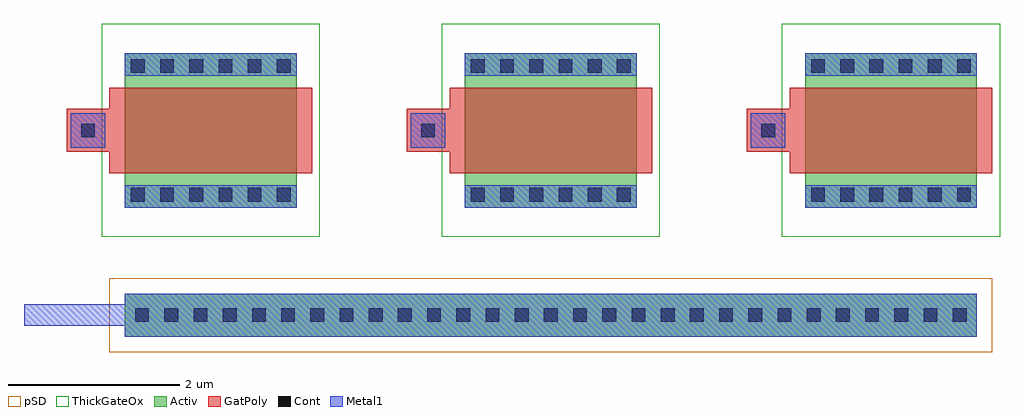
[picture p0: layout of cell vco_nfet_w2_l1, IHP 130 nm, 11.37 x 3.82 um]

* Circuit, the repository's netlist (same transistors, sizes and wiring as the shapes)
* extracted by klt extract --deck sg13cmos5l

* cell vco_nfet_w2_l1
* pin vsubs
.SUBCKT vco_nfet_w2_l1 vsubs
* device instance $1 r0 *1 1.89,3.36 nfet
X$1 \$4 \$1 \$5 vsubs sg13_hv_nmos L=1U W=2U AS=0.8P AD=0.8P PS=4.8U PD=4.8U
* device instance $2 r0 *1 5.03,3.36 nfet
X$2 \$6 \$2 \$7 vsubs sg13_hv_nmos L=1U W=2U AS=0.8P AD=0.8P PS=4.8U PD=4.8U
* device instance $3 r0 *1 8.17,3.36 nfet
X$3 \$8 \$3 \$9 vsubs sg13_hv_nmos L=1U W=2U AS=0.8P AD=0.8P PS=4.8U PD=4.8U
.ENDS vco_nfet_w2_l1

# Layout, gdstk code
import gdstk
lib = gdstk.Library(unit=1e-6, precision=1e-09)
def R(c, l, rs):  # rectangles x0, y0, x1, y1
    for r in rs: c.add(gdstk.rectangle(r[:2], r[2:], *l))
def A(c, l, x, y, w, h, nx, ny, dx, dy):  # array of equal rectangles
    R(c, l, [(x+i*dx, y+j*dy, x+i*dx+w, y+j*dy+h) for i in range(nx) for j in range(ny)])
Activ = (1, 0)
GatPoly = (5, 0)
Cont = (6, 0)
Metal1 = (8, 0)
pSD = (14, 0)
ThickGateOx = (44, 0)

vco_nfet_w2_l1 = lib.new_cell('vco_nfet_w2_l1')
A(vco_nfet_w2_l1, Activ, 1.3, 2.46, 2, 1.8, 3, 1, 3.96, 0)
R(vco_nfet_w2_l1, Activ, [(1.3,0.96,11.22,1.46)])
A(vco_nfet_w2_l1, GatPoly, 1.12, 2.86, 2.36, 1, 3, 1, 3.96, 0)
A(vco_nfet_w2_l1, GatPoly, 0.62, 3.11, 0.5, 0.5, 3, 1, 3.96, 0)
A(vco_nfet_w2_l1, Cont, 1.42, 1.13, 0.16, 0.16, 29, 1, 0.34, 0)
A(vco_nfet_w2_l1, Cont, 1.37, 2.53, 0.16, 0.16, 6, 2, 0.34, 1.5)
A(vco_nfet_w2_l1, Cont, 5.33, 2.53, 0.16, 0.16, 6, 2, 0.34, 1.5)
A(vco_nfet_w2_l1, Cont, 9.29, 2.53, 0.16, 0.16, 6, 2, 0.34, 1.5)
A(vco_nfet_w2_l1, Cont, 0.79, 3.28, 0.16, 0.16, 3, 1, 3.96, 0)
A(vco_nfet_w2_l1, Metal1, 1.3, 2.46, 2, 0.26, 3, 2, 3.96, 1.54)
A(vco_nfet_w2_l1, Metal1, 0.67, 3.16, 0.4, 0.4, 3, 1, 3.96, 0)
R(vco_nfet_w2_l1, Metal1, [(1.3,0.96,11.22,1.46), (0.125,1.085,1.3,1.335)])
R(vco_nfet_w2_l1, pSD, [(1.12,0.78,11.4,1.64)])
A(vco_nfet_w2_l1, ThickGateOx, 1.03, 2.12, 2.54, 2.48, 3, 1, 3.96, 0)

lib.write_gds('vco_nfet_w2_l1.gds')
